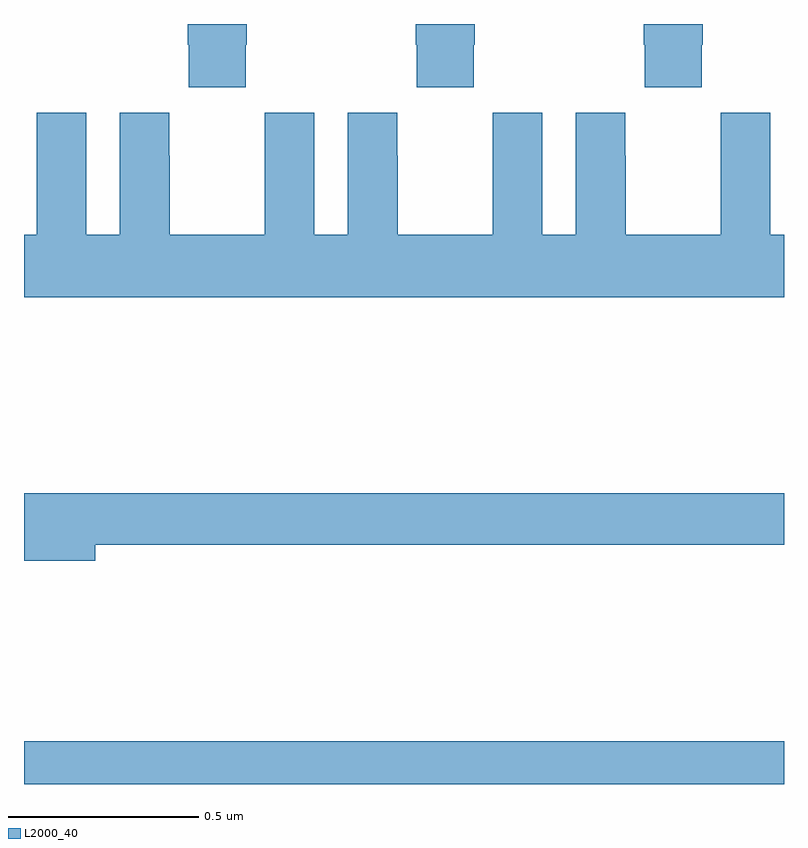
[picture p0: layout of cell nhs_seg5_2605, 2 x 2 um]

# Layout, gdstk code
import gdstk
lib = gdstk.Library(unit=1e-6, precision=1e-09)
def R(c, l, rs):  # rectangles x0, y0, x1, y1
    for r in rs: c.add(gdstk.rectangle(r[:2], r[2:], *l))
def P(c, l, *ps):  # polygons
    for p in ps: c.add(gdstk.Polygon(p, *l))
L2000_40 = (2000, 40)

nhs_seg5_2605 = lib.new_cell('nhs_seg5_2605')
R(nhs_seg5_2605, L2000_40, [(146,868.799,148,868.912)])
P(nhs_seg5_2605, L2000_40, [(146.583,870.745),(146.586,870.745),(146.586,870.799),(146.431,870.799),(146.431,870.745),(146.433,870.745),(146.433,870.633),(146.583,870.633)],
  [(147.183,870.745),(147.186,870.745),(147.186,870.799),(147.031,870.799),(147.031,870.745),(147.033,870.745),(147.033,870.633),(147.183,870.633)],
  [(147.783,870.745),(147.786,870.745),(147.786,870.799),(147.631,870.799),(147.631,870.745),(147.633,870.745),(147.633,870.633),(147.783,870.633)],
  [(148,870.244),(147.964,870.244),(147.964,870.565),(147.834,870.565),(147.834,870.452),(147.833,870.452),(147.833,870.244),(147.583,870.244),(147.583,870.452),(147.582,870.452),(147.582,870.565),(147.452,870.565),(147.452,870.244),(147.364,870.244),(147.364,870.565),(147.234,870.565),(147.234,870.452),(147.233,870.452),(147.233,870.244),(146.983,870.244),(146.983,870.452),(146.982,870.452),(146.982,870.565),(146.852,870.565),(146.852,870.244),(146.764,870.244),(146.764,870.565),(146.634,870.565),(146.634,870.452),(146.633,870.452),(146.633,870.244),(146.383,870.244),(146.383,870.452),(146.382,870.452),(146.382,870.565),(146.252,870.565),(146.252,870.244),(146.164,870.244),(146.164,870.565),(146.034,870.565),(146.034,870.452),(146.033,870.452),(146.033,870.244),(146,870.244),(146,870.08),(148,870.08)],
  [(146.188,869.428),(148,869.428),(148,869.564),(146,869.564),(146,869.386),(146.188,869.386)])

lib.write_gds('nhs_seg5_2605.gds')
